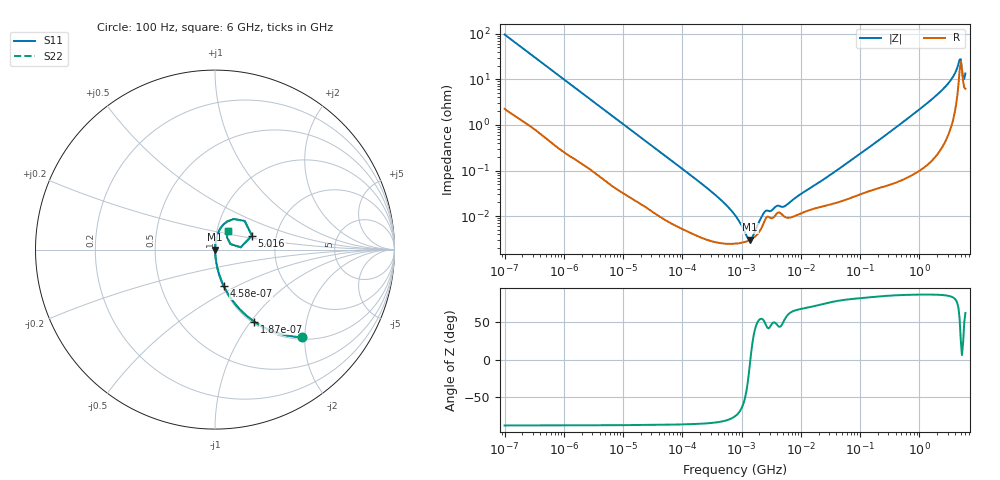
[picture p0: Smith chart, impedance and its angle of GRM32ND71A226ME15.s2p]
!Murata Part Number: GRM32ND71A226ME15
!These Parameters are Measured in Series Mode Connection
!Data Generated on Mar 30, 2021
!  o--ll--o
!Port1  Port2
!  o------o
!Operation Temp=25[degC], DC Bias Voltage=0[V]
!Freq. Start=100[Hz] Stop=6[GHz] 401[Steps]
# Hz S RI R 50
!Freq.(Hz) S11(Real) S11(Imag) S21(Real) S21(Imag) S12(Real) S12(Imag) S22(Real) S22(Imag)
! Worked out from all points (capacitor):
!   401 points, 100 Hz to 6 GHz, reference 50 ohm
!   read as one part in series: C = 16.4 uF near 109 Hz
!   lowest |Z| = 3.01 mohm at 1.386 MHz (marker M1)
!   series resonance near 1.409 MHz, so ESL is about 780 pH
!   S11 on the Smith chart (normalised r, x): 100 Hz: 1.05, -1.93; 187 Hz: 1.03, -1.04; 458 Hz: 1.01, -0.43; 5.016 GHz: 1.49, +0.24; 6 GHz: 1.12, +0.24
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100  0.4829 -0.4882  0.5171 0.4882  0.5171 0.4882  0.4829 -0.4882
187  0.2189 -0.4013  0.7811 0.4013  0.7811 0.4013  0.2189 -0.4013
280  0.1155 -0.307  0.8845 0.307  0.8845 0.307  0.1155 -0.307
458  0.0494 -0.2041  0.9506 0.2041  0.9506 0.2041  0.0494 -0.2041
2008  0.00393 -0.0501  0.9961 0.0501  0.9961 0.0501  0.00393 -0.0501
40335  0.000107 -0.00265  0.9999 0.00265  0.9999 0.00265  0.000107 -0.00265
316350  2.8e-05 -0.000335  1 0.000335  1 0.000335  2.8e-05 -0.000335
774597  2.48e-05 -0.000102  1 0.000102  1 0.000102  2.48e-05 -0.000102
1386327  3e-05 -2.6e-06  1 2.6e-06  1 2.6e-06  3e-05 -2.6e-06
2074311  4.92e-05 6.93e-05  1 -6.93e-05  1 -6.93e-05  4.92e-05 6.93e-05
2594782  9.14e-05 9.51e-05  0.9999 -9.51e-05  0.9999 -9.51e-05  9.14e-05 9.51e-05
3882480  0.000111 0.000123  0.9999 -0.000123  0.9999 -0.000123  0.000111 0.000123
5311619  9.7e-05 0.000132  0.9999 -0.000132  0.9999 -0.000132  9.7e-05 0.000132
1.555665e7  0.000141 0.000417  0.9999 -0.000417  0.9999 -0.000417  0.000141 0.000417
3.124326e8  0.000528 0.00684  0.9995 -0.00684  0.9995 -0.00684  0.000528 0.00684
1.565993e9  0.00277 0.0348  0.9972 -0.0348  0.9972 -0.0348  0.00277 0.0348
3.205649e9  0.0141 0.0848  0.9859 -0.0848  0.9859 -0.0848  0.0141 0.0848
4.009986e9  0.0369 0.1279  0.9631 -0.1279  0.9631 -0.1279  0.0369 0.1279
4.586474e9  0.1048 0.1706  0.8952 -0.1706  0.8952 -0.1706  0.1048 0.1706
5.016141e9  0.2059 0.0776  0.7941 -0.0776  0.7941 -0.0776  0.2059 0.0776
5.737278e9  0.0668 0.0684  0.9332 -0.0684  0.9332 -0.0684  0.0668 0.0684
6e9  0.0702 0.105  0.9298 -0.105  0.9298 -0.105  0.0702 0.105
